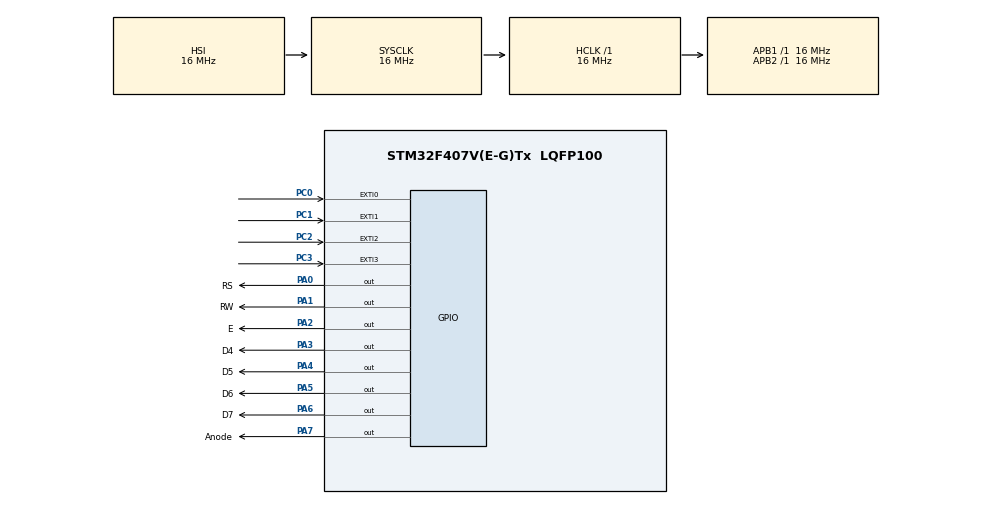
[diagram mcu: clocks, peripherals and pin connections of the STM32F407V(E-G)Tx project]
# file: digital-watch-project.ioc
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Mcu.Family=STM32F4
Mcu.Name=STM32F407V(E-G)Tx
Mcu.Package=LQFP100
NVIC.EXTI0_IRQn=true\:5\:0\:true\:false\:true\:true\:true\:true
NVIC.EXTI1_IRQn=true\:5\:0\:true\:false\:true\:true\:true\:true
NVIC.EXTI2_IRQn=true\:5\:0\:true\:false\:true\:true\:true\:true
NVIC.EXTI3_IRQn=true\:5\:0\:true\:false\:true\:true\:true\:true
NVIC.FLASH_IRQn=true\:0\:0\:false\:false\:true\:true\:true\:true
NVIC.PriorityGroup=NVIC_PRIORITYGROUP_4
NVIC.RTC_Alarm_IRQn=true\:5\:0\:true\:false\:true\:true\:true\:true
NVIC.TIM6_DAC_IRQn=true\:15\:0\:true\:false\:true\:false\:true\:true
NVIC.TimeBase=TIM6_DAC_IRQn
NVIC.TimeBaseIP=TIM6
PA0-WKUP.GPIO_Label=RS
PA0-WKUP.Signal=GPIO_Output
PA1.GPIO_Label=RW
PA1.Signal=GPIO_Output
PA2.GPIO_Label=E
PA2.Signal=GPIO_Output
PA3.GPIO_Label=D4
PA3.Signal=GPIO_Output
PA4.GPIO_Label=D5
PA4.Signal=GPIO_Output
PA5.GPIO_Label=D6
PA5.Signal=GPIO_Output
PA6.GPIO_Label=D7
PA6.Signal=GPIO_Output
PA7.GPIO_Label=Anode
PA7.PinState=GPIO_PIN_SET
PA7.Signal=GPIO_Output
PC0.Signal=GPXTI0
PC1.Signal=GPXTI1
PC2.Signal=GPXTI2
PC3.Signal=GPXTI3
ProjectManager.HeapSize=0x200
ProjectManager.StackSize=0x400
ProjectManager.TargetToolchain=STM32CubeIDE
RCC.AHBFreq_Value=16000000
RCC.APB1Freq_Value=16000000
RCC.APB2Freq_Value=16000000
RCC.CortexFreq_Value=16000000
RCC.HSE_VALUE=25000000
RCC.HSI_VALUE=16000000
RCC.LSE_VALUE=32768
RCC.SYSCLKFreq_VALUE=16000000
RCC.VCOOutputFreq_Value=192000000
RTC.Alarm=RTC_ALARM_A
RTC.AlarmMaskDateWeekDay=RTC_ALARMMASK_DATEWEEKDAY
RTC.AlarmMaskDateWeekDay_B=RTC_ALARMMASK_DATEWEEKDAY
RTC.Alarm_B=RTC_ALARM_B
RTC.Date=24
RTC.Format=RTC_FORMAT_BIN
RTC.Hours=16
RTC.Minutes=59
RTC.Month=RTC_MONTH_SEPTEMBER
RTC.Seconds=20
RTC.Seconds_A=1
RTC.Seconds_B=1
RTC.WeekDay=RTC_WEEKDAY_TUESDAY
RTC.Year=24
VP_RTC_VS_RTC_Activate.Mode=RTC_Enabled
VP_RTC_VS_RTC_Alarm_A_Intern.Mode=Alarm A
VP_RTC_VS_RTC_Alarm_B_Intern.Mode=Alarm B
VP_RTC_VS_RTC_Calendar.Mode=RTC_Calendar
VP_SYS_VS_tim6.Mode=TIM6
board=custom

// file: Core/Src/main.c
/* USER CODE BEGIN Header */
/**
  ******************************************************************************
  * @file           : main.c
  * @brief          : Main program body
  ******************************************************************************
  * @attention
  *
  * Copyright (c) 2024 STMicroelectronics.
  * All rights reserved.
  *
  * This software is licensed under terms that can be found in the LICENSE file
  * in the root directory of this software component.
  * If no LICENSE file comes with this software, it is provided AS-IS.
  *
  ******************************************************************************
  */
/* USER CODE END Header */
#include "main.h"

/* USER CODE BEGIN Includes */
#include <stdio.h>
#include <stdbool.h>
#include "FreeRTOS.h"
#include "task.h"
#include "lcd.h"
#include "watch.h"

/* USER CODE END Includes */

/* USER CODE BEGIN PTD */
typedef enum {
    MINIMAL_PRIORITY_TASK = 1,
    LOW_PRIORITY_TASK = 2,
    HIGH_PRIORITY_TASK = 3,
    BUTTON_PRIORITY = 4
} TaskPriority;

/* USER CODE END PTD */

/* USER CODE BEGIN PD */
static const TickType_t TICK_DELAY_50_MS 	= pdMS_TO_TICKS(50U);
static const TickType_t FUNCTION_DELAY 		= 2000U;

#define DEBUG_MODE				1U

#if DEBUG_MODE
    #define DEBUG_PRINT(...) printf(__VA_ARGS__)
#else
    #define DEBUG_PRINT(...) // Do nothing
#endif

/* USER CODE END PD */

RTC_HandleTypeDef hrtc;

void SystemClock_Config(void);
static void MX_GPIO_Init(void);
static void MX_RTC_Init(void);

/* USER CODE BEGIN 0 */
TaskHandle_t redButtonHandle =		NULL;
TaskHandle_t blueButtonHandle =		NULL;
TaskHandle_t greenButtonHandle =	NULL;
TaskHandle_t yellowButtonHandle =	NULL;
TaskHandle_t displayTimeHandle =	NULL;
TaskHandle_t changeFormatHandle =	NULL;
TaskHandle_t stopwatchHandle =		NULL;
TaskHandle_t adjustTimeHandle =		NULL;
TaskHandle_t hourlyAlarmHandle =	NULL;
TaskHandle_t alarmTaskHandle =		NULL;
TaskHandle_t snoozeTaskHandle =		NULL;
TaskHandle_t blinkHandle =			NULL;

volatile uint8_t function_mode =			0;
volatile uint8_t blue_ctr =					0;
volatile uint8_t green_ctr =				0;
volatile uint8_t yellow_ctr =				0;
volatile uint8_t toggle_chime_function =	0;

void redButtonHandler			(void *param);
void blueButtonHandler			(void *param);
void greenButtonHandler			(void *param);
void yellowButtonHandler		(void *param);
void blueHoldButtonHandler		(void *param);
void hourlyAlarmHandler			(void *param);

/* USER CODE END 0 */

int main(void)
{

  /* USER CODE BEGIN 1 */
	BaseType_t xReturned;

	/* Create the task, storing the handle. */

  /* USER CODE END 1 */

  /* MCU Configuration--------------------------------------------------------*/

  /* Reset of all peripherals, Initializes the Flash interface and the Systick. */
  HAL_Init();

  /* Configure the system clock */
  SystemClock_Config();

  /* Initialize all configured peripherals */
  MX_GPIO_Init();
  MX_RTC_Init();
  /* USER CODE BEGIN 2 */
  LCD_Init();

//  Task 1
	xReturned = xTaskCreate(
			redButtonHandler,					/* Function that implements the task. */
			"redButtonHandler",					/* Text name for the task. */
			configMINIMAL_STACK_SIZE,			/* Stack size in words, not bytes. */
			"redButtonHandler running...",		/* Parameter passed into the task. */
			BUTTON_PRIORITY,					/* Priority at which the task is created. */
			&redButtonHandle );					/* Used to pass out the created task's handle. */

	if (xReturned == pdPASS) {
		DEBUG_PRINT("redButtonHandler task created successfully\n");
	} else {
		DEBUG_PRINT("redButtonHandler task creation failed\n");
	}

//  Task 2
	xReturned = xTaskCreate(
			blueButtonHandler,					/* Function that implements the task. */
			"blueButtonHandler",				/* Text name for the task. */
			configMINIMAL_STACK_SIZE,			/* Stack size in words, not bytes. */
			"blueButtonHandler running...",		/* Parameter passed into the task. */
			BUTTON_PRIORITY,					/* Priority at which the task is created. */
			&blueButtonHandle );				/* Used to pass out the created task's handle. */

	if (xReturned == pdPASS) {
	    DEBUG_PRINT("blueButtonHandler task created successfully\n");
	} else {
	    DEBUG_PRINT("blueButtonHandler task creation failed\n");
	}

//  Task 3
	xReturned = xTaskCreate(
			greenButtonHandler,					/* Function that implements the task. */
			"greenButtonHandler",				/* Text name for the task. */
			configMINIMAL_STACK_SIZE,			/* Stack size in words, not bytes. */
			"greenButtonHandler running...",	/* Parameter passed into the task. */
			BUTTON_PRIORITY,					/* Priority at which the task is created. */
			&greenButtonHandle );				/* Used to pass out the created task's handle. */

	if (xReturned == pdPASS) {
		DEBUG_PRINT("greenButtonHandler task created successfully\n");
	} else {
		DEBUG_PRINT("greenButtonHandler task creation failed\n");
	}

//  Task 4
	xReturned = xTaskCreate(
			yellowButtonHandler,				/* Function that implements the task. */
			"yellowButtonHandler",				/* Text name for the task. */
			configMINIMAL_STACK_SIZE,			/* Stack size in words, not bytes. */
			"yellowButtonHandler running...",	/* Parameter passed into the task. */
			BUTTON_PRIORITY,					/* Priority at which the task is created. */
			&yellowButtonHandle );				/* Used to pass out the created task's handle. */

	if (xReturned == pdPASS) {
		DEBUG_PRINT("yellowButtonHandler task created successfully\n");
	} else {
		DEBUG_PRINT("yellowButtonHandler task creation failed\n");
	}

//  Task 5
	xReturned = xTaskCreate(
			displayTimeTask,					/* Function that implements the task. */
			"displayTimeTask",					/* Text name for the task. */
			configMINIMAL_STACK_SIZE,			/* Stack size in words, not bytes. */
			NULL,								/* Parameter passed into the task. */
			LOW_PRIORITY_TASK,					/* Priority at which the task is created. */
			&displayTimeHandle);				/* Used to pass out the created task's handle. */

	if (xReturned == pdPASS) {
		DEBUG_PRINT("display_time task created successfully\n");
	} else {
		DEBUG_PRINT("display_time task creation failed\n");
	}

//  Task 6
	xReturned = xTaskCreate(
			changeFormatTask,					/* Function that implements the task. */
			"changeFormatTask",					/* Text name for the task. */
			configMINIMAL_STACK_SIZE,			/* Stack size in words, not bytes. */
			NULL,								/* Parameter passed into the task. */
			HIGH_PRIORITY_TASK,					/* Priority at which the task is created. */
			&changeFormatHandle);				/* Used to pass out the created task's handle. */

	if (xReturned == pdPASS) {
		DEBUG_PRINT("change_format task created successfully\n");
	} else {
		DEBUG_PRINT("change_format task creation failed\n");
	}

//  Task 7
	xReturned = xTaskCreate(
			stopwatchTask,						/* Function that implements the task. */
			"stopwatchTask",					/* Text name for the task. */
			configMINIMAL_STACK_SIZE,			/* Stack size in words, not bytes. */
			NULL,								/* Parameter passed into the task. */
			HIGH_PRIORITY_TASK,					/* Priority at which the task is created. */
			&stopwatchHandle);					/* Used to pass out the created task's handle. */

	if (xReturned == pdPASS) {
		DEBUG_PRINT("stopwatch task created successfully\n");
	} else {
		DEBUG_PRINT("stopwatch task creation failed\n");
	}

//  Task  8
	xReturned = xTaskCreate(
			adjustTime,							/* Function that implements the task. */
			"adjustTime",						/* Text name for the task. */
			configMINIMAL_STACK_SIZE,			/* Stack size in words, not bytes. */
			NULL,								/* Parameter passed into the task. */
			HIGH_PRIORITY_TASK,					/* Priority at which the task is created. */
			&adjustTimeHandle);					/* Used to pass out the created task's handle. */

	if (xReturned == pdPASS) {
		DEBUG_PRINT("adjust time task created successfully\n");
	} else {
		DEBUG_PRINT("adjust time task creation failed\n");
	}

//  Task 9
	xReturned = xTaskCreate(
			hourlyAlarmTask,					/* Function that implements the task. */
			"hourlyAlarmTask",					/* Text name for the task. */
			configMINIMAL_STACK_SIZE,			/* Stack size in words, not bytes. */
			NULL,								/* Parameter passed into the task. */
			LOW_PRIORITY_TASK,					/* Priority at which the task is created. */
			&hourlyAlarmHandle);				/* Used to pass out the created task's handle. */

	if (xReturned == pdPASS) {
		DEBUG_PRINT("hourlyAlarm task created successfully\n");
	} else {
		DEBUG_PRINT("hourlyAlarm task creation failed\n");
	}

//  Task 10
	xReturned = xTaskCreate(
			blinkBacklight,						/* Function that implements the task. */
			"blinkBacklight",					/* Text name for the task. */
			configMINIMAL_STACK_SIZE,			/* Stack size in words, not bytes. */
			NULL,								/* Parameter passed into the task. */
			MINIMAL_PRIORITY_TASK,				/* Priority at which the task is created. */
			&blinkHandle);						/* Used to pass out the created task's handle. */

	if (xReturned == pdPASS) {
		DEBUG_PRINT("hourlyAlarm task created successfully\n");
	} else {
		DEBUG_PRINT("hourlyAlarm task creation failed\n");
	}

//  Task 11
	xReturned = xTaskCreate(
			alarmTask,							/* Function that implements the task. */
			"alarmTask",						/* Text name for the task. */
			configMINIMAL_STACK_SIZE,			/* Stack size in words, not bytes. */
			NULL,								/* Parameter passed into the task. */
			HIGH_PRIORITY_TASK,					/* Priority at which the task is created. */
			&alarmTaskHandle);					/* Used to pass out the created task's handle. */

	if (xReturned == pdPASS) {
		DEBUG_PRINT("Alarm task created successfully\n");
	} else {
		DEBUG_PRINT("Alarm task creation failed\n");
	}

//  Task 12
	xReturned = xTaskCreate(
			snoozeTask,							/* Function that implements the task. */
			"snoozeTask",						/* Text name for the task. */
			configMINIMAL_STACK_SIZE,			/* Stack size in words, not bytes. */
			NULL,								/* Parameter passed into the task. */
			LOW_PRIORITY_TASK,					/* Priority at which the task is created. */
			&snoozeTaskHandle);					/* Used to pass out the created task's handle. */

	if (xReturned == pdPASS) {
		DEBUG_PRINT("Alarm task created successfully\n");
	} else {
		DEBUG_PRINT("Alarm task creation failed\n");
	}

	vTaskStartScheduler();

  /* USER CODE END 2 */

  /* Infinite loop */
  while (1)
  {

  }
}

void SystemClock_Config(void)
{
  RCC_OscInitTypeDef RCC_OscInitStruct = {0};
  RCC_ClkInitTypeDef RCC_ClkInitStruct = {0};

  /** Configure the main internal regulator output voltage
  */
  __HAL_RCC_PWR_CLK_ENABLE();
  __HAL_PWR_VOLTAGESCALING_CONFIG(PWR_REGULATOR_VOLTAGE_SCALE1);

  /** Initializes the RCC Oscillators according to the specified parameters
  * in the RCC_OscInitTypeDef structure.
  */
  RCC_OscInitStruct.OscillatorType = RCC_OSCILLATORTYPE_HSI|RCC_OSCILLATORTYPE_LSI;
  RCC_OscInitStruct.HSIState = RCC_HSI_ON;
  RCC_OscInitStruct.HSICalibrationValue = RCC_HSICALIBRATION_DEFAULT;
  RCC_OscInitStruct.LSIState = RCC_LSI_ON;
  RCC_OscInitStruct.PLL.PLLState = RCC_PLL_NONE;
  if (HAL_RCC_OscConfig(&RCC_OscInitStruct) != HAL_OK)
  {
    Error_Handler();
  }

  /** Initializes the CPU, AHB and APB buses clocks
  */
  RCC_ClkInitStruct.ClockType = RCC_CLOCKTYPE_HCLK|RCC_CLOCKTYPE_SYSCLK
                              |RCC_CLOCKTYPE_PCLK1|RCC_CLOCKTYPE_PCLK2;
  RCC_ClkInitStruct.SYSCLKSource = RCC_SYSCLKSOURCE_HSI;
  RCC_ClkInitStruct.AHBCLKDivider = RCC_SYSCLK_DIV1;
  RCC_ClkInitStruct.APB1CLKDivider = RCC_HCLK_DIV1;
  RCC_ClkInitStruct.APB2CLKDivider = RCC_HCLK_DIV1;

  if (HAL_RCC_ClockConfig(&RCC_ClkInitStruct, FLASH_LATENCY_0) != HAL_OK)
  {
    Error_Handler();
  }
}

static void MX_RTC_Init(void)
{

  RTC_TimeTypeDef sTime = {0};
  RTC_DateTypeDef sDate = {0};
  RTC_AlarmTypeDef sAlarm = {0};

  /** Initialize RTC Only
  */
  hrtc.Instance = RTC;
  hrtc.Init.HourFormat = RTC_HOURFORMAT_24;
  hrtc.Init.AsynchPrediv = 127;
  hrtc.Init.SynchPrediv = 255;
  hrtc.Init.OutPut = RTC_OUTPUT_DISABLE;
  hrtc.Init.OutPutPolarity = RTC_OUTPUT_POLARITY_HIGH;
  hrtc.Init.OutPutType = RTC_OUTPUT_TYPE_OPENDRAIN;
  if (HAL_RTC_Init(&hrtc) != HAL_OK)
  {
    Error_Handler();
  }

  /** Initialize RTC and set the Time and Date
  */
  sTime.Hours = 16;
  sTime.Minutes = 59;
  sTime.Seconds = 20;
  sTime.DayLightSaving = RTC_DAYLIGHTSAVING_NONE;
  sTime.StoreOperation = RTC_STOREOPERATION_RESET;
  if (HAL_RTC_SetTime(&hrtc, &sTime, RTC_FORMAT_BIN) != HAL_OK)
  {
    Error_Handler();
  }
  sDate.WeekDay = RTC_WEEKDAY_TUESDAY;
  sDate.Month = RTC_MONTH_SEPTEMBER;
  sDate.Date = 24;
  sDate.Year = 24;

  if (HAL_RTC_SetDate(&hrtc, &sDate, RTC_FORMAT_BIN) != HAL_OK)
  {
    Error_Handler();
  }

  /** Enable the Alarm A
  */
  sAlarm.AlarmTime.Hours = 0;
  sAlarm.AlarmTime.Minutes = 0;
  sAlarm.AlarmTime.Seconds = 1;
  sAlarm.AlarmTime.SubSeconds = 0;
  sAlarm.AlarmTime.DayLightSaving = RTC_DAYLIGHTSAVING_NONE;
  sAlarm.AlarmTime.StoreOperation = RTC_STOREOPERATION_RESET;
  sAlarm.AlarmMask = RTC_ALARMMASK_DATEWEEKDAY;
  sAlarm.AlarmSubSecondMask = RTC_ALARMSUBSECONDMASK_ALL;
  sAlarm.AlarmDateWeekDaySel = RTC_ALARMDATEWEEKDAYSEL_DATE;
  sAlarm.AlarmDateWeekDay = 1;
  sAlarm.Alarm = RTC_ALARM_A;
  if (HAL_RTC_SetAlarm_IT(&hrtc, &sAlarm, RTC_FORMAT_BIN) != HAL_OK)
  {
    Error_Handler();
  }

  /** Enable the Alarm B
  */
  sAlarm.Alarm = RTC_ALARM_B;
  if (HAL_RTC_SetAlarm_IT(&hrtc, &sAlarm, RTC_FORMAT_BIN) != HAL_OK)
  {
    Error_Handler();
  }

}

static void MX_GPIO_Init(void)
{
  GPIO_InitTypeDef GPIO_InitStruct = {0};

  /* GPIO Ports Clock Enable */
  __HAL_RCC_GPIOC_CLK_ENABLE();
  __HAL_RCC_GPIOA_CLK_ENABLE();

  /*Configure GPIO pin Output Level */
  HAL_GPIO_WritePin(GPIOA, RS_Pin|RW_Pin|E_Pin|D4_Pin
                          |D5_Pin|D6_Pin|D7_Pin, GPIO_PIN_RESET);

  /*Configure GPIO pin Output Level */
  HAL_GPIO_WritePin(Anode_GPIO_Port, Anode_Pin, GPIO_PIN_SET);

  /*Configure GPIO pins : PC0 PC1 PC2 PC3 */
  GPIO_InitStruct.Pin = GPIO_PIN_0|GPIO_PIN_1|GPIO_PIN_2|GPIO_PIN_3;
  GPIO_InitStruct.Mode = GPIO_MODE_IT_RISING;
  GPIO_InitStruct.Pull = GPIO_NOPULL;
  HAL_GPIO_Init(GPIOC, &GPIO_InitStruct);

  /*Configure GPIO pins : RS_Pin RW_Pin E_Pin D4_Pin
                           D5_Pin D6_Pin D7_Pin Anode_Pin */
  GPIO_InitStruct.Pin = RS_Pin|RW_Pin|E_Pin|D4_Pin
                          |D5_Pin|D6_Pin|D7_Pin|Anode_Pin;
  GPIO_InitStruct.Mode = GPIO_MODE_OUTPUT_PP;
  GPIO_InitStruct.Pull = GPIO_NOPULL;
  GPIO_InitStruct.Speed = GPIO_SPEED_FREQ_LOW;
  HAL_GPIO_Init(GPIOA, &GPIO_InitStruct);

  /* EXTI interrupt init*/
  HAL_NVIC_SetPriority(EXTI0_IRQn, 5, 0);
  HAL_NVIC_EnableIRQ(EXTI0_IRQn);

  HAL_NVIC_SetPriority(EXTI1_IRQn, 5, 0);
  HAL_NVIC_EnableIRQ(EXTI1_IRQn);

  HAL_NVIC_SetPriority(EXTI2_IRQn, 5, 0);
  HAL_NVIC_EnableIRQ(EXTI2_IRQn);

  HAL_NVIC_SetPriority(EXTI3_IRQn, 5, 0);
  HAL_NVIC_EnableIRQ(EXTI3_IRQn);

}

/* USER CODE BEGIN 4 */

void redButtonHandler (void *param)
{
    while (true) {
    	DEBUG_PRINT("LOG - [Enter] [%s] (%s)\n", __func__, (char*)param);

    	ulTaskNotifyTake(pdTRUE, portMAX_DELAY);

    	HAL_GPIO_TogglePin(GPIOA, Anode_Pin);

    	DEBUG_PRINT("LOG - [Exit ] [%s] (%s)\n\n", __func__, (char*)param);
    }

    vTaskDelete(NULL);
}

void blueButtonHandler (void *param)
{
	uint8_t notify_result;
	TickType_t delay_type = portMAX_DELAY;

	while (true) {
    	DEBUG_PRINT("LOG - [Enter] [%s] (%s)\n", __func__, (char*)param);

		while (true) {
			notify_result = ulTaskNotifyTake(pdTRUE, pdMS_TO_TICKS(delay_type));

			uint32_t pressStartTime = xTaskGetTickCount();

			// Wait for button release
			while (HAL_GPIO_ReadPin(GPIOC, RW_Pin) == GPIO_PIN_SET)
			{
				// Delay to debounce
				vTaskDelay(TICK_DELAY_50_MS);
			}

			// Calculate press duration
			uint32_t pressDuration = xTaskGetTickCount() - pressStartTime;

			if (pressDuration > pdMS_TO_TICKS(FUNCTION_DELAY)) {
				// Long press detected
				toggle_chime_function = ~toggle_chime_function;
				taskENTER_CRITICAL();
				blue_ctr = 0;
				taskEXIT_CRITICAL();

			} else {
				if (function_mode) {
					delay_type = portMAX_DELAY;
				} else {
					if (notify_result == pdTRUE) {
						delay_type = FUNCTION_DELAY;
					} else {
						break;
					}
				}
				taskENTER_CRITICAL();
				blue_ctr++;
				taskEXIT_CRITICAL();
			}
		}

		switch (blue_ctr) {
			case 1:
				DEBUG_PRINT("changeFormatHandle Sent!\n");
				xTaskNotifyGive(changeFormatHandle);
				vTaskDelay(TICK_DELAY_50_MS);
				delay_type = portMAX_DELAY;
				break;
			default:
				DEBUG_PRINT("No assigned function!\n");
				blue_ctr = 0;
				delay_type = portMAX_DELAY;
				break;
		}

    	DEBUG_PRINT("LOG - [Exit ] [%s] (%s)\n\n", __func__, (char*)param);
    }

    vTaskDelete(NULL);
}

void greenButtonHandler (void *param)
{
	uint8_t notify_result;
	TickType_t delay_type = portMAX_DELAY;

	while (true) {
    	DEBUG_PRINT("LOG - [Enter] [%s] (%s)\n", __func__, (char*)param);

		while (true) {
			notify_result = ulTaskNotifyTake(pdTRUE, pdMS_TO_TICKS(delay_type));

			if (function_mode) {
				delay_type = portMAX_DELAY;
			} else {
				if (notify_result == pdTRUE) {
					delay_type = FUNCTION_DELAY;
				} else {
					break;
				}
			}
			taskENTER_CRITICAL();
			green_ctr++;
			taskEXIT_CRITICAL();
		}

		switch (green_ctr) {
			default:
				DEBUG_PRINT("No assigned function!\n");
				green_ctr = 0;
				delay_type = portMAX_DELAY;
				break;
		}

    	DEBUG_PRINT("LOG - [Exit ] [%s] (%s)\n\n", __func__, (char*)param);
    }

    vTaskDelete(NULL);
}

void yellowButtonHandler (void *param)
{
	uint8_t notify_result;
	TickType_t delay_type = portMAX_DELAY;

	while (true) {
    	DEBUG_PRINT("LOG - [Enter] [%s] (%s)\n", __func__, (char*)param);

		while (true) {
			notify_result = ulTaskNotifyTake(pdTRUE, pdMS_TO_TICKS(delay_type));

			if (function_mode) {
				delay_type = portMAX_DELAY;
			} else {
				if (notify_result == pdTRUE) {
					delay_type = FUNCTION_DELAY;
				} else {
					break;
				}
			}
			taskENTER_CRITICAL();
			yellow_ctr++;
			taskEXIT_CRITICAL();
		}

		switch (yellow_ctr) {
			case 1:
				DEBUG_PRINT("Sent!\n");
				xTaskNotifyGive(alarmTaskHandle);
				vTaskDelay(TICK_DELAY_50_MS);
				delay_type = portMAX_DELAY;
				break;
			case 2:
				DEBUG_PRINT("Sent!\n");
				xTaskNotifyGive(stopwatchHandle);
				vTaskDelay(TICK_DELAY_50_MS);
				delay_type = portMAX_DELAY;
				break;
			case 3:
				DEBUG_PRINT("Sent!\n");
				xTaskNotifyGive(adjustTimeHandle);
				vTaskDelay(TICK_DELAY_50_MS);
				delay_type = portMAX_DELAY;
				break;
			default:
				DEBUG_PRINT("No assigned function!\n");
				yellow_ctr = 0;
				delay_type = portMAX_DELAY;
				break;
		}

    	DEBUG_PRINT("LOG - [Exit ] [%s] (%s)\n\n", __func__, (char*)param);
    }

    vTaskDelete(NULL);
}

/* USER CODE END 4 */

void HAL_TIM_PeriodElapsedCallback(TIM_HandleTypeDef *htim)
{
  if (htim->Instance == TIM6) {
    HAL_IncTick();
  }
}

void Error_Handler(void)
{
  __disable_irq();
  while (1)
  {
  }
}
